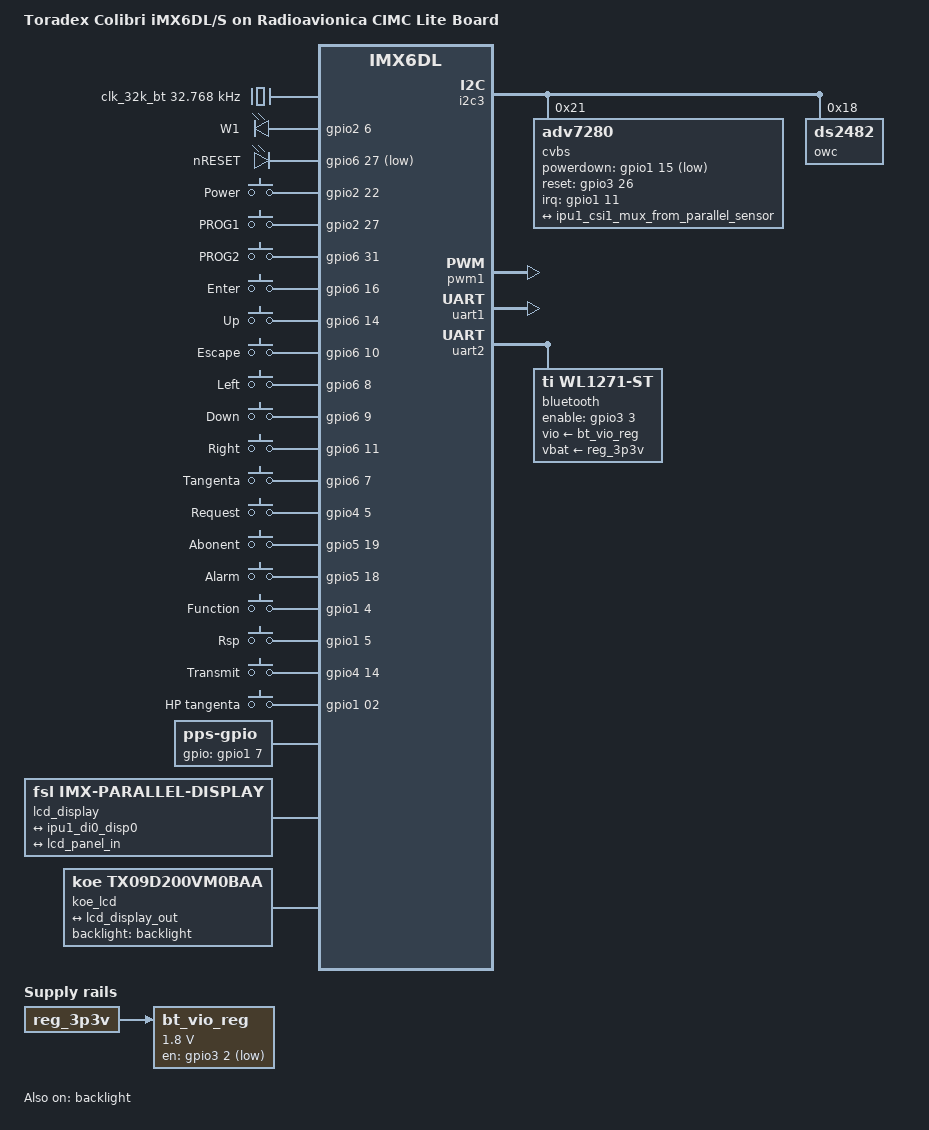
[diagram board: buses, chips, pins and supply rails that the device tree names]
/*
 * Copyright 2014-2016 Toradex AG
 * Copyright 2012 Freescale Semiconductor, Inc.
 * Copyright 2011 Linaro Ltd.
 *
 * This file is dual-licensed: you can use it either under the terms
 * of the GPL or the X11 license, at your option. Note that this dual
 * licensing only applies to this file, and not this project as a
 * whole.
 *
 *  a) This file is free software; you can redistribute it and/or
 *     modify it under the terms of the GNU General Public License
 *     version 2 as published by the Free Software Foundation.
 *
 *     This file is distributed in the hope that it will be useful
 *     but WITHOUT ANY WARRANTY; without even the implied warranty of
 *     MERCHANTABILITY or FITNESS FOR A PARTICULAR PURPOSE.  See the
 *     GNU General Public License for more details.
 *
 * Or, alternatively
 *
 *  b) Permission is hereby granted, free of charge, to any person
 *     obtaining a copy of this software and associated documentation
 *     files (the "Software"), to deal in the Software without
 *     restriction, including without limitation the rights to use
 *     copy, modify, merge, publish, distribute, sublicense, and/or
 *     sell copies of the Software, and to permit persons to whom the
 *     Software is furnished to do so, subject to the following
 *     conditions:
 *
 *     The above copyright notice and this permission notice shall be
 *     included in all copies or substantial portions of the Software.
 *
 *     THE SOFTWARE IS PROVIDED , WITHOUT WARRANTY OF ANY KIND
 *     EXPRESS OR IMPLIED, INCLUDING BUT NOT LIMITED TO THE WARRANTIES
 *     OF MERCHANTABILITY, FITNESS FOR A PARTICULAR PURPOSE AND
 *     NONINFRINGEMENT. IN NO EVENT SHALL THE AUTHORS OR COPYRIGHT
 *     HOLDERS BE LIABLE FOR ANY CLAIM, DAMAGES OR OTHER LIABILITY
 *     WHETHER IN AN ACTION OF CONTRACT, TORT OR OTHERWISE, ARISING
 *     FROM, OUT OF OR IN CONNECTION WITH THE SOFTWARE OR THE USE OR
 *     OTHER DEALINGS IN THE SOFTWARE.
 */

/dts-v1/;

#include <dt-bindings/input/input.h>
#include <dt-bindings/interrupt-controller/irq.h>
#include "imx6dl.dtsi"
#include "imx6qdl-colibri-ravion.dtsi"

/ {
	model = "Toradex Colibri iMX6DL/S on Radioavionica CIMC Lite Board";
	compatible = "toradex,mcp", "toradex,colibri_imx6dl-eval",
		"toradex,colibri_imx6dl", "fsl,imx6dl";

	/*
	 * Device specific clocks
	 */
	clocks {
		clk_32k_bt: bt_clk {
			compatible = "fixed-clock";
			#clock-cells = <0>;
			clock-frequency = <32768>;
			clock-accuracy = <100>;
		 };
	};

	/*
	 * Device specific regulators
	 */
	bt_vio_reg: bt_vio {
			pinctrl-names = "default";
			pinctrl-0 = <&pinctrl_reg_bt_cif>;
			compatible = "regulator-fixed";
			regulator-name = "VIO_BT";
			regulator-min-microvolt = <1800000>;
			regulator-max-microvolt = <1800000>;
			gpio = <&gpio3 2 GPIO_ACTIVE_LOW>;
			regulator-always-on;
			vin-supply = <&reg_3p3v>;
	};

	/*
	 * Device specific leds
	 */
	gpio-leds {
		compatible = "gpio-leds";
		pinctrl-names = "default";
		pinctrl-0 = <&pinctrl_gpio_leds>;

		w1 {
			label = "W1";
			gpios = <&gpio2 6 GPIO_ACTIVE_HIGH>;
			default-state = "on";
		};

		nreset {
			label = "nRESET";
			gpios = <&gpio6 27 GPIO_ACTIVE_LOW>;
			default-state = "off";
		};

	};

	/*
	 * Device specific keys
	 */
	gpio-keys {
		compatible = "gpio-keys";
		pinctrl-names = "default";
		pinctrl-0 = <&pinctrl_gpio_keys>;

		power {
			label = "Power";
			gpios = <&gpio2 22 GPIO_ACTIVE_HIGH>; /* SODIMM 45 */
			linux,code = <KEY_POWER>;
			debounce-interval = <100>;
			wakeup-source;
		};
		/* Board specific buttons */
		fm1 {
			label = "PROG1";
			gpios = <&gpio2 27 GPIO_ACTIVE_HIGH>; /* SODIMM 150 */
			linux,code = <KEY_PROG1>;
			debounce-interval = <100>;
		};
		fm2 {
			label = "PROG2";
			gpios = <&gpio6 31 GPIO_ACTIVE_HIGH>; /* SODIMM 152 */
			linux,code = <KEY_PROG2>;
			debounce-interval = <100>;
		};
		enter {
			label = "Enter";
			gpios = <&gpio6 16 GPIO_ACTIVE_HIGH>; /* SODIMM 154 */
			linux,code = <KEY_ENTER>;
			debounce-interval = <100>;
		};
		up {
			label = "Up";
			gpios = <&gpio6 14 GPIO_ACTIVE_HIGH>; /* SODIMM 156 */
			linux,code = <KEY_UP>;
			debounce-interval = <100>;
		};
		escape {
			label = "Escape";
			gpios = <&gpio6 10 GPIO_ACTIVE_HIGH>; /* SODIMM 158 */
			linux,code = <KEY_ESC>;
			debounce-interval = <100>;
		};
		left {
			label = "Left";
			gpios = <&gpio6 8 GPIO_ACTIVE_HIGH>; /* SODIMM 160 */
			linux,code = <KEY_LEFT>;
			debounce-interval = <100>;
		};
		down {
			label = "Down";
			gpios = <&gpio6 9 GPIO_ACTIVE_HIGH>; /* SODIMM 162 */
			linux,code = <KEY_DOWN>;
			debounce-interval = <100>;
		};
		right {
			label = "Right";
			gpios = <&gpio6 11 GPIO_ACTIVE_HIGH>; /* SODIMM 164 */
			linux,code = <KEY_RIGHT>;
			debounce-interval = <100>;
			wakeup-source;
		};
		tangenta {
			label = "Tangenta";
			gpios = <&gpio6 7 GPIO_ACTIVE_HIGH>; /* SODIMM 166 */
			linux,code = <KEY_F1>;
			debounce-interval = <100>;
		};
		request {
			label = "Request";
			gpios = <&gpio4 5 GPIO_ACTIVE_HIGH>; /* SODIMM 168 */
			linux,code = <KEY_F2>;
			debounce-interval = <100>;
		};
		abonent {
			label = "Abonent";
			gpios = <&gpio5 19 GPIO_ACTIVE_HIGH>; /* SODIMM 170 */
			linux,code = <KEY_F3>;
			debounce-interval = <100>;
		};
		alarm {
			label = "Alarm";
			gpios = <&gpio5 18 GPIO_ACTIVE_HIGH>; /* SODIMM 172 */
			linux,code = <KEY_F4>;
			debounce-interval = <100>;
		};
		function {
			label = "Function";
			gpios = <&gpio1 4 GPIO_ACTIVE_HIGH>; /* SODIMM 174 */
			linux,code = <KEY_F5>;
			debounce-interval = <100>;
		};
		rsp {
			label = "Rsp";
			gpios = <&gpio1 5 GPIO_ACTIVE_HIGH>; /* SODIMM 176 */
			linux,code = <KEY_F6>;
			debounce-interval = <100>;
		};
		transmit {
			label = "Transmit";
			gpios = <&gpio4 14 GPIO_ACTIVE_HIGH>; /* SODIMM 178 */
			linux,code = <KEY_F7>;
			debounce-interval = <100>;
		};
		hp_tangenta {
			label = "HP tangenta";
			gpios = <&gpio1 02 GPIO_ACTIVE_HIGH>; /* SODIMM 180 */
			linux,code = <KEY_F1>;
			debounce-interval = <100>;
		};
	};

	/*
	 * PPS pin from SNS receiver
	 */
	pps {
		compatible = "pps-gpio";
		pinctrl-names = "default";
		pinctrl-0 = <&pinctrl_pps_gpio>;

		gpios = <&gpio1 7 GPIO_ACTIVE_HIGH>; /* soDimm 55 */
		assert-falling-edge;
		status = "okay";
	};

	/*
	 * Display subsystem
	 */
	lcd_display: display@di0 {
		compatible = "fsl,imx-parallel-display";
		#address-cells = <1>;
		#size-cells = <0>;
		interface-pix-fmt = "rgb24";
		pinctrl-names = "default";
		pinctrl-0 = <&pinctrl_ipu1_lcdif>;
		status = "okay";

		port@0 {
			reg = <0>;

			lcd_display_in: endpoint {
				remote-endpoint = <&ipu1_di0_disp0>;
			};
		};

		port@1 {
			reg = <1>;

			lcd_display_out: endpoint {
				remote-endpoint = <&lcd_panel_in>;
			};
		};
	};

	koe_lcd: panel {
		compatible = "koe,tx09d200vm0baa";
		backlight = <&backlight>;

		port {
			lcd_panel_in: endpoint {
				remote-endpoint = <&lcd_display_out>;
			};
		};
	};
};

&ipu1_di0_disp0 {
	remote-endpoint = <&lcd_display_in>;
};

&backlight {
	pinctrl-names = "default";
	pinctrl-0 = <&pinctrl_gpio_bl_on>;
	compatible = "pwm-backlight";
	enable-gpios = <&gpio3 07 GPIO_ACTIVE_HIGH>;
	pwms = <&pwm1 0 500>;
	brightness-levels = <0 31 63 95 127 159 191 223 255>;
	default-brightness-level = <4>;
	status = "okay";
};

/*
 * Colibri I2C: I2C3_SDA/SCL on SODIMM 194/196 (e.g. RTC on carrier board)
 */
&i2c3 {
	status = "okay";

	/* Composite video capture interface */
	cvbs: adv7280@21 {
		reg = <0x21>;
		compatible = "adv7280", "adi,adv7280";
		pinctrl-names = "default";
		pinctrl-0 = <&pinctrl_adv7280>;
		interrupt-parent = <&gpio1>;
		interrupts = <11 IRQ_TYPE_LEVEL_LOW>;
		powerdown-gpios = <&gpio1 15 GPIO_ACTIVE_LOW>;
		reset-gpios = <&gpio3 26>;
		status = "okay";

		port {
			adv7280_ep: endpoint {
				remote-endpoint = <&ipu1_csi1_mux_from_parallel_sensor>;
				bus-width = <8>;
			};
		};
	};

	/* DS2484: I2C to OneWire Converter */
	owc: ds2482@18 {
		status = "okay";
		compatible = "ds2482";
		reg = <0x18>;
	};
};

&ipu1_csi1 {
	pinctrl-names = "default";
	pinctrl-0 = <&pinctrl_ipu1_csi1>;

	fim {
		status = "okay";
	};
};

&ipu1_csi1_from_ipu1_csi1_mux {
};

&ipu1_csi1_mux_from_parallel_sensor {
	remote-endpoint = <&adv7280_ep>;
};

/* Only pwm1 used as bright contol, all other - disabled  */
&pwm1 { status = "okay";	}; /* soDimm 28 - LCD bright */

/* uart1 - sys (3w), uart2 - bluetoth (H3), uart3 disabled by default */
&uart1 { status = "okay"; }; /* default full feature uart */
&uart2 { /* default have CTS/RTS pins */
	status = "okay";

	bluetooth {
		pinctrl-names = "default";
		pinctrl-0 = <&pinctrl_bluetooth>;

		enable-gpios	= <&gpio3 3 GPIO_ACTIVE_HIGH>;
		compatible	= "ti,wl1271-st";
		clocks		= <&clk_32k_bt 0>;
		clock-names	= "ext_clock";
		max-speed	= <3686400>;
		/*
		 * Params not found in source, but described in documentation
		 */
		current-speed	= <115200>;
		vio-supply	= <&bt_vio_reg>;
		vbat-supply	= <&reg_3p3v>;
		status = "okay";
	};
};

/* Board specific io muxing */
&iomuxc {
	pinctrl_gpio_bl_on: gpioblon {
		fsl,pins = <
			MX6QDL_PAD_EIM_DA7__GPIO3_IO07	0x1b0b0 /* soDimm 125 */
		>;
	};

	pinctrl_adv7280: gpio-adv7280 {
		fsl,pins = <
			MX6QDL_PAD_SD2_CMD__GPIO1_IO11 0x0f058 /* PU_22K soDimm 69: CIF_D10/CIF_IRQn */
		>;
	};

	pinctrl_bluetooth: gpio-bluetooth {
		fsl,pins = <
			MX6QDL_PAD_EIM_DA3__GPIO3_IO03	0x0f058 /* PU_22K soDimm 117 - nBT_PDN */
		>;
	};

	pinctrl_reg_bt_cif: gpio-reg-bt-cif {
		fsl,pins = <
			MX6QDL_PAD_EIM_DA2__GPIO3_IO02	0x0f058 /* PU_22K soDimm 115: CIF_BT_PWR */
		>;
	};

	pinctrl_gpio_leds: gpio-leds {
		fsl,pins = <
			MX6QDL_PAD_RGMII_RD1__GPIO6_IO27 0xf058 /* PU_22K interal RGMII_RD1 - nRESET OUT */
			MX6QDL_PAD_NANDF_D6__GPIO2_IO06	0x0f058 /* PU_22K soDImm 127: SLPZ@DS2484R   */
		>;
	};

	pinctrl_gpio_keys: gpiokeys {
		fsl,pins = <
			MX6QDL_PAD_EIM_A16__GPIO2_IO22		0x1b0b0	/* Power button */
			MX6QDL_PAD_EIM_LBA__GPIO2_IO27		0x1b0b0	/* FM1:		soDimm 150 */
			MX6QDL_PAD_EIM_BCLK__GPIO6_IO31		0x1b0b0	/* FM2:		soDimm 152 */
			MX6QDL_PAD_NANDF_CS3__GPIO6_IO16	0x1b0b0	/* Enter:	soDimm 154 */
			MX6QDL_PAD_NANDF_CS1__GPIO6_IO14	0x1b0b0	/* Up:		soDimm 156 */
			MX6QDL_PAD_NANDF_RB0__GPIO6_IO10	0x1b0b0	/* Escape	soDimm 158 */
			MX6QDL_PAD_NANDF_ALE__GPIO6_IO08	0x1b0b0	/* Left:	soDimm 160 */
			MX6QDL_PAD_NANDF_WP_B__GPIO6_IO09	0x1b0b0	/* Down:	soDimm 162 */
			MX6QDL_PAD_NANDF_CS0__GPIO6_IO11	0x1b0b0	/* Rigth:	soDimm 164 */
			MX6QDL_PAD_NANDF_CLE__GPIO6_IO07	0x1b0b0	/* Tangenta:	soDimm 166 */
			MX6QDL_PAD_GPIO_19__GPIO4_IO05		0x1b0b0	/* Request:	soDimm 168 */
			MX6QDL_PAD_CSI0_MCLK__GPIO5_IO19	0x1b0b0	/* Abonent:	soDimm 170 */
			MX6QDL_PAD_CSI0_PIXCLK__GPIO5_IO18	0x1b0b0	/* Alarm:	soDimm 172 */
			MX6QDL_PAD_GPIO_4__GPIO1_IO04		0x1b0b0	/* Function:	soDimm 174 */
			MX6QDL_PAD_GPIO_5__GPIO1_IO05		0x1b0b0	/* RSP:		soDimm 176 */
			MX6QDL_PAD_KEY_COL4__GPIO4_IO14		0x1b0b0	/* Transmit:	soDimm 178 */
			MX6QDL_PAD_GPIO_2__GPIO1_IO02		0x1b0b0	/* HP Tangenta:	soDimm 180 */
		>;
	};

	pinctrl_pps_gpio: gpiopps {
		fsl,pins = <
			MX6QDL_PAD_GPIO_7__GPIO1_IO07		0x1b0b0 /* soDimm 55 */
		>;
	};
};
